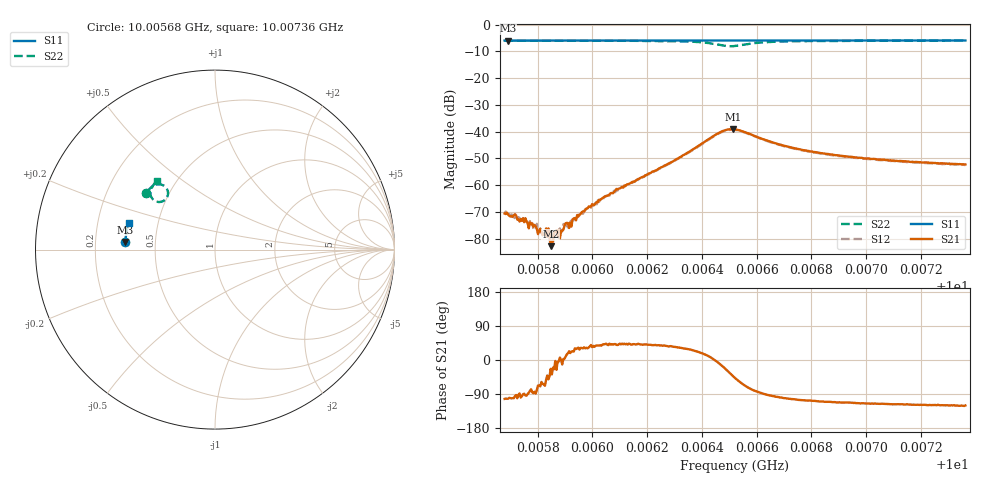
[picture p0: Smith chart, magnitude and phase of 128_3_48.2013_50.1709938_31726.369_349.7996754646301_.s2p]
#  HZ  S  RI  R  50.00
! Rohde & Schwarz Vector Network Analyzer
! Rohde-Schwarz,ZNB20-2Port,1311601062101988,3.16
! Created: UTC 3/20/2024, 11:41:48 AM
! freq[Hz]  re:S11  im:S11  re:S21  im:S21  re:S12  im:S12  re:S22  im:S22
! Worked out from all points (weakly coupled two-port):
!   401 points, 10.00568 GHz to 10.00736 GHz, reference 50 ohm
!   highest |S21| = -39.08 dB at 10.00651 GHz (marker M1); lowest = -82.7 dB at 10.00585 GHz (marker M2)
!   lowest |S11| = -6.0 dB at 10.00569 GHz (marker M3), VSWR 3.01, Z = 16.7 + j1.89 ohm
!   |S11| at or under -10 dB: nowhere
!   |S22| runs from -8.1 to -6.0 dB; largest |S21 - S12| = 0.00068
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1.0005679e10  -0.4993 0.0417  -6.49e-05 -0.000289  -4.15e-05 -0.000305  -0.3822 0.3181
1.0005692e10  -0.4991 0.0426  -6.04e-05 -0.000277  -3.79e-06 -0.000291  -0.3815 0.3187
1.0005763e10  -0.4988 0.0473  6.18e-07 -0.000196  1.61e-05 -0.000202  -0.378 0.3233
1.0005822e10  -0.4986 0.0511  5.45e-05 -0.000111  7.19e-05 -0.000108  -0.3751 0.3271
1.0005835e10  -0.4985 0.0519  8.27e-05 -7.18e-05  9.11e-05 -0.000115  -0.3744 0.3279
1.0005847e10  -0.4985 0.0528  6.7e-05 -2.88e-05  0.00011 -7.72e-05  -0.3737 0.3287
1.0005856e10  -0.4985 0.0533  8.26e-05 -3e-05  0.000109 -4.91e-05  -0.3733 0.3291
1.0005868e10  -0.4985 0.0541  0.00013 -6.33e-05  0.000119 3.13e-06  -0.3723 0.3301
1.0005881e10  -0.4982 0.0549  0.000101 1.17e-05  0.000156 -9.21e-06  -0.3718 0.3308
1.0005889e10  -0.4984 0.0554  0.000138 -2.89e-05  0.000139 5.04e-07  -0.3713 0.3313
1.0005902e10  -0.4983 0.0564  0.000192 3.1e-05  0.000179 3.7e-05  -0.3706 0.3323
1.0005919e10  -0.4981 0.0574  0.000191 6.33e-05  0.000183 9.96e-05  -0.3695 0.3332
1.0005961e10  -0.4978 0.0602  0.000268 0.000165  0.000274 0.000175  -0.367 0.3361
1.0006079e10  -0.4971 0.0677  0.000557 0.000498  0.000579 0.000535  -0.3584 0.3444
1.0006243e10  -0.4958 0.0783  0.0016 0.0013  0.00152 0.00133  -0.3401 0.3574
1.0006462e10  -0.493 0.0923  0.00938 -0.00139  0.00924 -0.000874  -0.2629 0.3252
1.0006513e10  -0.4924 0.0949  0.00827 -0.00742  0.00848 -0.00678  -0.2845 0.2727
1.0006521e10  -0.4925 0.0954  0.00746 -0.00815  0.0077 -0.00751  -0.2936 0.2682
1.0006677e10  -0.4916 0.1053  -0.000768 -0.00583  -0.000545 -0.00578  -0.3604 0.3155
1.0006803e10  -0.4903 0.1134  -0.0013 -0.00406  -0.0011 -0.00401  -0.3553 0.3399
1.0007085e10  -0.4863 0.1314  -0.00129 -0.0026  -0.00115 -0.00262  -0.3391 0.3657
1.0007363e10  -0.4817 0.1489  -0.00122 -0.00212  -0.00112 -0.0021  -0.324 0.3824
